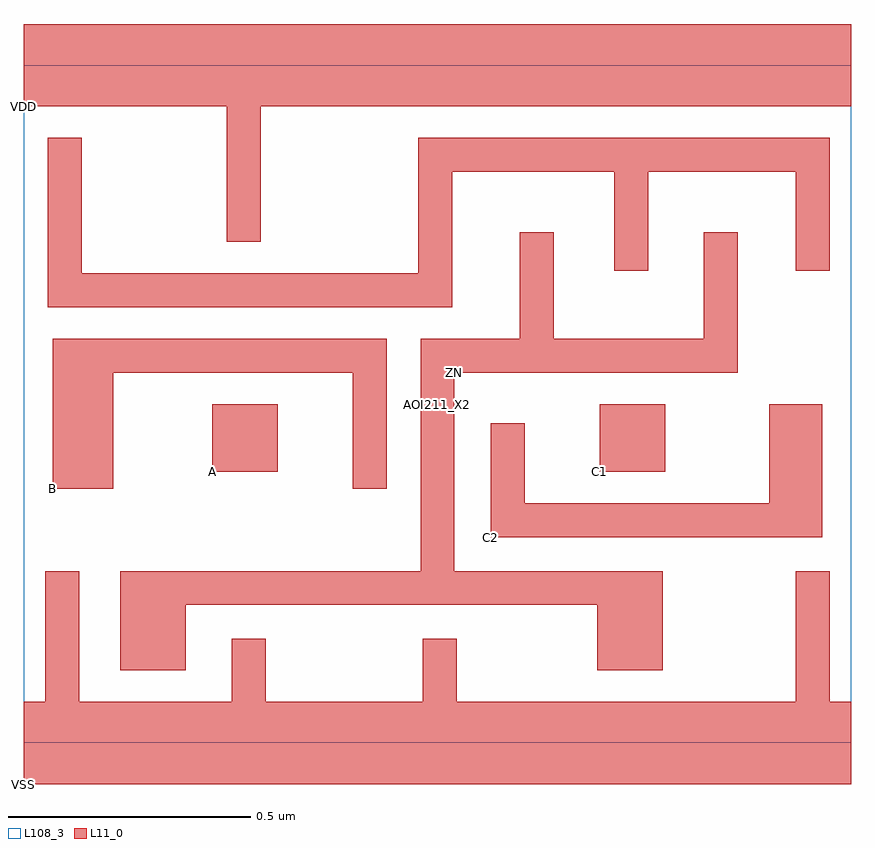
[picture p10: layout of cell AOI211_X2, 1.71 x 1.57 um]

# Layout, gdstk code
import gdstk
lib = gdstk.Library(unit=1e-6, precision=1e-09)
def R(c, l, rs):  # rectangles x0, y0, x1, y1
    for r in rs: c.add(gdstk.rectangle(r[:2], r[2:], *l))
def P(c, l, *ps):  # polygons
    for p in ps: c.add(gdstk.Polygon(p, *l))
L11_0 = (11, 0)
L108_3 = (108, 3)

aoi211_x2 = lib.new_cell('AOI211_X2')
R(aoi211_x2, L11_0, [(0.39,0.56,0.525,0.7), (1.19,0.56,1.325,0.7)])
P(aoi211_x2, L11_0, [(0.06,0.525),(0.185,0.525),(0.185,0.765),(0.68,0.765),(0.68,0.525),(0.75,0.525),(0.75,0.835),(0.06,0.835)],
  [(0.965,0.425),(1.65,0.425),(1.65,0.7),(1.54,0.7),(1.54,0.495),(1.035,0.495),(1.035,0.66),(0.965,0.66)],
  [(0.89,0.765),(1.475,0.765),(1.475,1.055),(1.405,1.055),(1.405,0.835),(1.095,0.835),(1.095,1.055),(1.025,1.055),(1.025,0.835),(0.82,0.835),(0.82,0.355),(0.2,0.355),(0.2,0.15),(0.335,0.15),(0.335,0.285),(1.185,0.285),(1.185,0.15),(1.32,0.15),(1.32,0.355),(0.89,0.355)],
  [(0,1.315),(0.42,1.315),(0.42,1.035),(0.49,1.035),(0.49,1.315),(1.665,1.315),(1.71,1.315),(1.71,1.485),(1.665,1.485),(0,1.485)],
  [(0,-0.085),(1.71,-0.085),(1.71,0.085),(1.665,0.085),(1.665,0.355),(1.595,0.355),(1.595,0.085),(0.895,0.085),(0.895,0.215),(0.825,0.215),(0.825,0.085),(0.5,0.085),(0.5,0.215),(0.43,0.215),(0.43,0.085),(0.115,0.085),(0.115,0.355),(0.045,0.355),(0.045,0.085),(0,0.085)],
  [(0.05,0.9),(0.885,0.9),(0.885,1.18),(1.22,1.18),(1.22,0.975),(1.29,0.975),(1.29,1.18),(1.595,1.18),(1.595,0.975),(1.665,0.975),(1.665,1.25),(0.815,1.25),(0.815,0.97),(0.12,0.97),(0.12,1.25),(0.05,1.25)])
R(aoi211_x2, L108_3, [(0,0,1.71,1.4)])
aoi211_x2.add(gdstk.Label('AOI211_X2', (0.855,0.7), layer=108, texttype=3))
aoi211_x2.add(gdstk.Label('A', (0.39,0.56), layer=11, texttype=0))
aoi211_x2.add(gdstk.Label('B', (0.06,0.525), layer=11, texttype=0))
aoi211_x2.add(gdstk.Label('C1', (1.19,0.56), layer=11, texttype=0))
aoi211_x2.add(gdstk.Label('C2', (0.965,0.425), layer=11, texttype=0))
aoi211_x2.add(gdstk.Label('ZN', (0.89,0.765), layer=11, texttype=0))
aoi211_x2.add(gdstk.Label('VDD', (0,1.315), layer=11, texttype=0))
aoi211_x2.add(gdstk.Label('VSS', (0,-0.085), layer=11, texttype=0))

lib.write_gds('AOI211_X2.gds')
